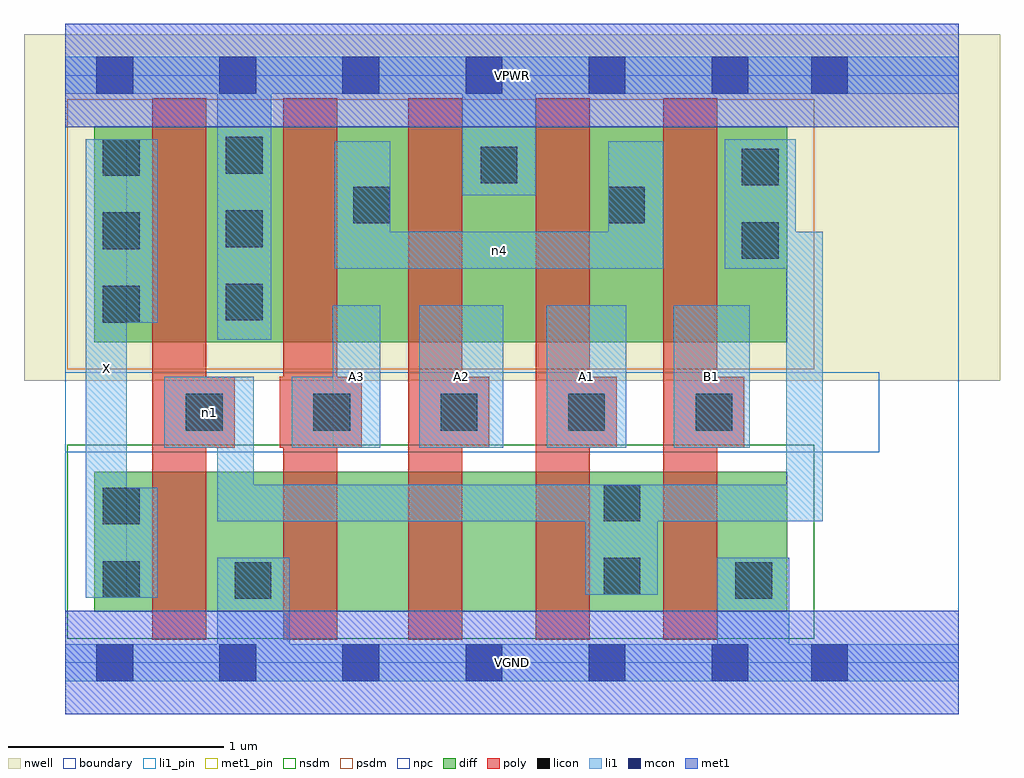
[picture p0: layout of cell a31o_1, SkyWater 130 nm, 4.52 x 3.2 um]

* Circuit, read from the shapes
.subckt a31o_1 A1 A2 A3 B1 VGND VPWR X n1 n4
XM1 VGND n1 X VSUBS sky130_fd_pr__nfet_01v8 w=0.65 l=0.25
XM2 n2 A3 VGND VSUBS sky130_fd_pr__nfet_01v8 w=0.65 l=0.25
XM3 n3 A2 n2 VSUBS sky130_fd_pr__nfet_01v8 w=0.65 l=0.25
XM4 n1 A1 n3 VSUBS sky130_fd_pr__nfet_01v8 w=0.65 l=0.25
XM5 VGND B1 n1 VSUBS sky130_fd_pr__nfet_01v8 w=0.65 l=0.25
XM6 VPWR n1 X n5 sky130_fd_pr__pfet_01v8 w=1 l=0.25
XM7 n4 A3 VPWR n5 sky130_fd_pr__pfet_01v8 w=1 l=0.25
XM8 VPWR A2 n4 n5 sky130_fd_pr__pfet_01v8 w=1 l=0.25
XM9 n4 A1 VPWR n5 sky130_fd_pr__pfet_01v8 w=1 l=0.25
XM10 n1 B1 n4 n5 sky130_fd_pr__pfet_01v8 w=1 l=0.25
.ends

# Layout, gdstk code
import gdstk
lib = gdstk.Library(unit=1e-6, precision=1e-09)
def R(c, l, rs):  # rectangles x0, y0, x1, y1
    for r in rs: c.add(gdstk.rectangle(r[:2], r[2:], *l))
def A(c, l, x, y, w, h, nx, ny, dx, dy):  # array of equal rectangles
    R(c, l, [(x+i*dx, y+j*dy, x+i*dx+w, y+j*dy+h) for i in range(nx) for j in range(ny)])
nwell = (64, 20)
diff = (65, 20)
poly = (66, 20)
licon = (66, 44)
li1_pin = (67, 16)
li1 = (67, 20)
mcon = (67, 44)
met1_pin = (68, 16)
met1 = (68, 20)
nsdm = (93, 44)
psdm = (94, 20)
npc = (95, 20)
boundary = (235, 4)

a31o_1 = lib.new_cell('a31o_1')
R(a31o_1, nwell, [(-0.19,1.305,4.33,2.91), (0,1.305,4.14,2.91)])
R(a31o_1, diff, [(0.135,0.235,3.345,0.885), (0.135,1.485,3.345,2.485)])
A(a31o_1, poly, 1.59, 0.105, 0.25, 2.51, 3, 1, 0.59, 0)
A(a31o_1, poly, 1.59, 0.995, 0.375, 0.33, 3, 1, 0.59, 0)
R(a31o_1, poly, [(0.405,0.105,0.655,2.615), (1.01,0.105,1.26,2.615), (0.405,0.995,0.785,1.325), (0.995,0.995,1.375,1.325)])
A(a31o_1, licon, 0.56, 1.075, 0.17, 0.17, 5, 1, 0.59, 0)
A(a31o_1, licon, 0.175, 1.575, 0.17, 0.17, 1, 3, 0, 0.34)
A(a31o_1, licon, 0.745, 1.585, 0.17, 0.17, 1, 3, 0, 0.34)
R(a31o_1, licon, [(0.785,0.295,0.955,0.465), (3.105,0.295,3.275,0.465), (0.175,0.3,0.345,0.47), (2.495,0.315,2.665,0.485), (0.175,0.64,0.345,0.81), (2.495,0.655,2.665,0.825), (3.135,1.87,3.305,2.04), (1.335,2.035,1.505,2.205), (2.515,2.035,2.685,2.205), (3.135,2.21,3.305,2.38), (1.925,2.22,2.095,2.39)])
R(a31o_1, li1_pin, [(0.095,0.3,0.285,2.425), (1.24,0.995,1.46,1.655), (1.64,0.995,2.03,1.655), (2.23,0.995,2.6,1.655), (2.82,0.995,3.17,1.655)])
R(a31o_1, li1, [(0,-0.085,4.14,0.085), (0.705,-0.085,1.04,0.485), (3.02,-0.085,3.355,0.485), (0.095,0.3,0.285,2.425), (0.095,0.3,0.43,0.81), (2.41,0.315,2.745,0.825), (0.705,0.655,3.51,0.825), (0.705,0.655,0.875,1.325), (3.34,0.655,3.51,1.995), (0.46,0.995,0.875,1.325), (1.05,0.995,1.46,1.325), (1.24,0.995,1.46,1.655), (1.64,0.995,2.03,1.655), (2.23,0.995,2.6,1.655), (2.82,0.995,3.17,1.655), (0.705,1.495,0.955,2.805), (0.095,1.575,0.43,2.425), (1.25,1.825,2.77,1.995), (1.25,1.825,1.505,2.415), (2.515,1.825,2.77,2.415), (3.055,1.825,3.385,2.425), (1.84,2.165,2.18,2.805), (0,2.635,4.14,2.805)])
A(a31o_1, mcon, 0.145, -0.085, 0.17, 0.17, 6, 2, 0.57, 2.72)
R(a31o_1, mcon, [(3.455,-0.085,3.625,0.085), (3.455,2.635,3.625,2.805)])
R(a31o_1, met1_pin, [(0,-0.24,4.14,0.24), (0,2.48,4.14,2.96)])
R(a31o_1, met1, [(0,-0.24,4.14,0.24), (0,2.48,4.14,2.96)])
R(a31o_1, nsdm, [(0.01,0.11,3.47,1.01)])
R(a31o_1, psdm, [(0.01,1.36,3.47,2.61)])
R(a31o_1, npc, [(0,0.975,3.77,1.345)])
R(a31o_1, boundary, [(0,0,4.14,2.72)])
a31o_1.add(gdstk.Label('A1', (2.415,1.325), layer=67, texttype=5))
a31o_1.add(gdstk.Label('A2', (1.835,1.325), layer=67, texttype=5))
a31o_1.add(gdstk.Label('A3', (1.35,1.325), layer=67, texttype=5))
a31o_1.add(gdstk.Label('B1', (2.995,1.325), layer=67, texttype=5))
a31o_1.add(gdstk.Label('X', (0.19,1.362), layer=67, texttype=5))
a31o_1.add(gdstk.Label('n4', (2.01,1.91), layer=67, texttype=5))
a31o_1.add(gdstk.Label('n1', (0.667,1.16), layer=67, texttype=5))
a31o_1.add(gdstk.Label('VPWR', (2.07,2.72), layer=68, texttype=5))
a31o_1.add(gdstk.Label('VGND', (2.07,0), layer=68, texttype=5))
a31o_1.add(gdstk.Label('A1', (2.415,1.325), layer=67, texttype=16))
a31o_1.add(gdstk.Label('A2', (1.835,1.325), layer=67, texttype=16))
a31o_1.add(gdstk.Label('A3', (1.35,1.325), layer=67, texttype=16))
a31o_1.add(gdstk.Label('B1', (2.995,1.325), layer=67, texttype=16))
a31o_1.add(gdstk.Label('X', (0.19,1.362), layer=67, texttype=16))
a31o_1.add(gdstk.Label('VPWR', (2.07,2.72), layer=68, texttype=16))
a31o_1.add(gdstk.Label('VGND', (2.07,0), layer=68, texttype=16))

lib.write_gds('a31o_1.gds')
